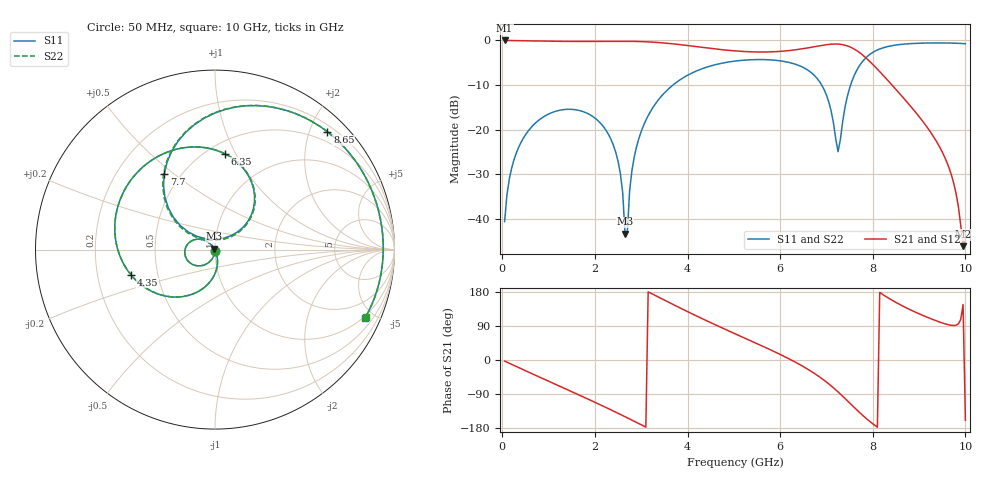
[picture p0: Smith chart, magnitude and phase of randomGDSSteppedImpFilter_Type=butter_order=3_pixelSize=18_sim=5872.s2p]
! freq	dB(S11)	phase(S11)	dB(S12)	phase(S12)
!  dB(S21)	phase(S21)	dB(S22)	phase(S22)
!S-par simulation data
#  GHz  S  DB  R 50
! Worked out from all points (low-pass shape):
!   200 points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, 50 MHz to 10 GHz, reference 50 ohm
!   highest |S21| = -0.01 dB at 50 MHz (marker M1); lowest = -46.1 dB at 9.95 GHz (marker M2)
!   |S21| within 3 dB of the highest: start of sweep to 7.75 GHz
!   lowest |S11| = -43.3 dB at 2.65 GHz (marker M3), VSWR 1.01, Z = 49.5 + j0.475 ohm
!   |S11| at or under -10 dB: start of sweep to 3.683 GHz; 6.897 GHz to 7.521 GHz (624.2 MHz wide, 8.66 % of centre)
!   |S22| runs from -43.1 to -0.6 dB; largest |S21 - S12| = 0
!   S11 on the Smith chart (normalised r, x): 50 MHz: 1.00, -0.02; 4.35 GHz: 0.35, -0.13; 6.35 GHz: 0.60, +0.90; 7.7 GHz: 0.41, +0.46; 8.65 GHz: 0.31, +2.30; 10 GHz: 0.92, -4.42
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0.05  -40.56 -92.2  -0.01 -2.9  -0.01 -2.9  -40.56 -92.2
0.2  -28.68 -101.2  -0.02 -11.4  -0.02 -11.4  -28.68 -101.2
0.55  -20.41 -121.5  -0.08 -31.0  -0.08 -31.0  -20.41 -121.5
1.75  -15.95 171.9  -0.22 -97.5  -0.22 -97.5  -15.95 171.9
2.4  -23.49 135.6  -0.18 -134.7  -0.18 -134.7  -23.49 135.9
2.55  -29.83 128.3  -0.18 -143.6  -0.18 -143.6  -29.82 128.9
2.65  -43.28 135.6  -0.18 -149.6  -0.18 -149.6  -43.11 139.0
2.9  -23.77 -77.3  -0.23 -164.8  -0.23 -164.8  -23.77 -77.7
3.4  -12.93 -107.0  -0.50 164.3  -0.50 164.3  -12.93 -107.1
4.35  -6.21 -163.4  -1.60 107.1  -1.60 107.1  -6.21 -163.6
5.05  -4.59 157.9  -2.36 68.0  -2.36 68.0  -4.59 157.7
6.35  -5.40 84.3  -2.07 -7.1  -2.07 -7.1  -5.40 84.0
6.7  -7.46 61.0  -1.48 -32.2  -1.48 -32.2  -7.47 60.4
7.05  -13.77 38.7  -0.89 -63.1  -0.89 -63.1  -13.82 37.2
7.25  -24.91 89.2  -0.82 -84.2  -0.82 -84.2  -25.87 88.8
7.45  -12.57 145.3  -1.22 -107.4  -1.22 -107.4  -12.63 146.8
7.7  -5.87 123.7  -2.62 -136.9  -2.62 -136.9  -5.88 124.4
8.35  -1.30 66.4  -9.23 162.5  -9.23 162.5  -1.30 66.7
8.65  -0.85 46.3  -12.73 142.2  -12.73 142.2  -0.85 46.6
9.6  -0.57 -4.5  -27.27 94.1  -27.27 94.1  -0.57 -4.2
9.95  -0.71 -21.9  -46.07 146.4  -46.07 146.4  -0.70 -21.6
10  -0.75 -24.5  -43.77 -158.9  -43.77 -158.9  -0.73 -24.1
